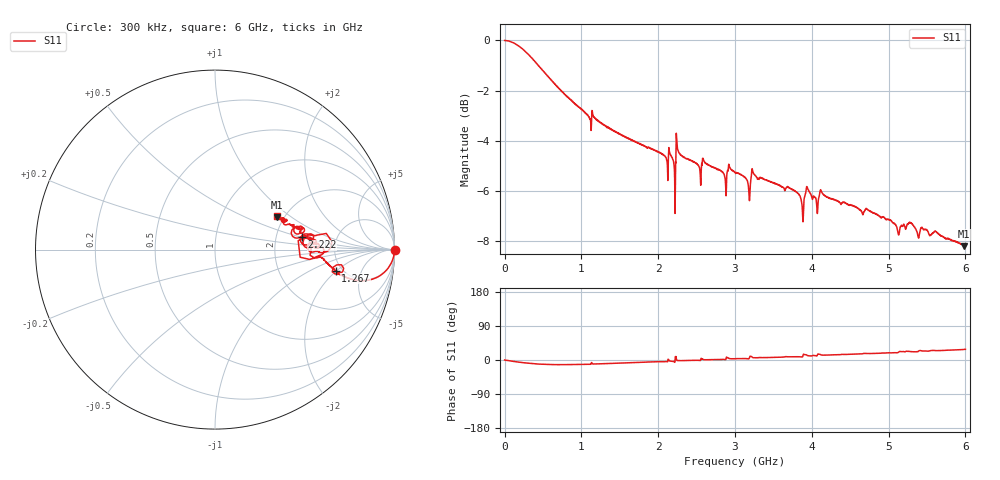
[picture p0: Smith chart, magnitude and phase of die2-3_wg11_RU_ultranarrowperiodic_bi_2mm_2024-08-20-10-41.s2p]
!Keysight Technologies,P9374A,MY57304198,A.17.20.09
!Date: Tuesday, August 20, 2024 10:41:47
!Correction: S11(C  1-Port  )
!S21(C  1-Port  )
!S12(Off)
!S22(Off)
!S2P File: Measurements: S11, S21, S12, S22:
# Hz S  dB  R 50
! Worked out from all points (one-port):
!   6000 points, 300 kHz to 6 GHz, reference 50 ohm
!   lowest |S11| = -8.2 dB at 5.978 GHz (marker M1), VSWR 2.27, Z = 91.5 + j39 ohm
!   |S11| at or under -10 dB: nowhere
!   S11 on the Smith chart (normalised r, x): 300 kHz: open; 1.267 GHz: 4.40, -1.92; 2.222 GHz: 2.81, +0.51; 6 GHz: 1.83, +0.80
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300000  0.00 -0.0  -200.00 45.0  -200.00 45.0  -200.00 45.0
2.393279e8  -0.35 -7.0  -200.00 45.0  -200.00 45.0  -200.00 45.0
4.183488e8  -0.92 -10.4  -200.00 45.0  -200.00 45.0  -200.00 45.0
1.000417e9  -2.75 -11.6  -200.00 45.0  -200.00 45.0  -200.00 45.0
1.267448e9  -3.33 -9.9  -200.00 45.0  -200.00 45.0  -200.00 45.0
2.000533e9  -4.46 -4.5  -200.00 45.0  -200.00 45.0  -200.00 45.0
2.187555e9  -4.74 -3.3  -200.00 45.0  -200.00 45.0  -200.00 45.0
2.221559e9  -6.22 8.1  -200.00 45.0  -200.00 45.0  -200.00 45.0
2.261564e9  -4.42 -1.6  -200.00 45.0  -200.00 45.0  -200.00 45.0
2.533596e9  -5.05 -1.0  -200.00 45.0  -200.00 45.0  -200.00 45.0
2.91364e9  -5.10 5.8  -200.00 45.0  -200.00 45.0  -200.00 45.0
3.00065e9  -5.27 3.3  -200.00 45.0  -200.00 45.0  -200.00 45.0
3.156668e9  -5.58 3.5  -200.00 45.0  -200.00 45.0  -200.00 45.0
3.218675e9  -5.20 8.7  -200.00 45.0  -200.00 45.0  -200.00 45.0
3.711733e9  -5.91 8.4  -200.00 45.0  -200.00 45.0  -200.00 45.0
3.882753e9  -7.16 9.7  -200.00 45.0  -200.00 45.0  -200.00 45.0
3.917757e9  -6.12 13.9  -200.00 45.0  -200.00 45.0  -200.00 45.0
4.000767e9  -6.27 10.8  -200.00 45.0  -200.00 45.0  -200.00 45.0
4.103779e9  -6.09 15.2  -200.00 45.0  -200.00 45.0  -200.00 45.0
5.000883e9  -7.16 18.9  -200.00 45.0  -200.00 45.0  -200.00 45.0
5.977997e9  -8.22 27.8  -200.00 45.0  -200.00 45.0  -200.00 45.0
6e9  -8.16 28.2  -200.00 45.0  -200.00 45.0  -200.00 45.0
